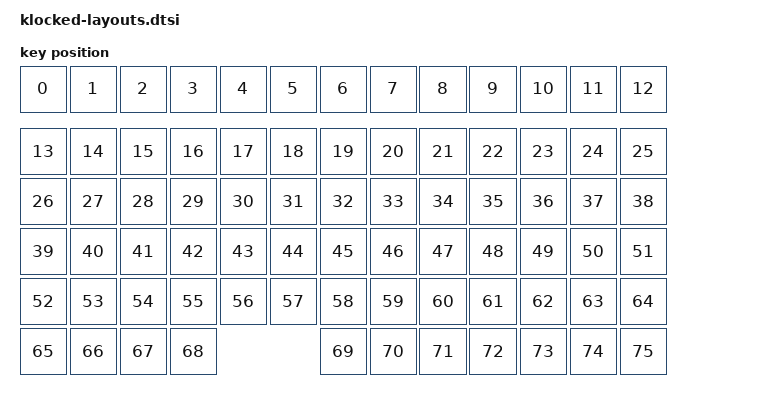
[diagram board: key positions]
#include <dt-bindings/zmk/matrix_transform.h> // Put this with the other includes at the top of your dtsi
#include <physical_layouts.dtsi>

// Physical layout node
/ {
physical_layout0: physical_layout_0 {
        compatible = "zmk,physical-layout";
        display-name = "13x6 Ortho";
        transform = <&default_transform>; // Links to the RC map we made earlier
        kscan = <&kscan0>;

keys
            //                         w   h    x    y   rot  rx  ry
            // Row 0: F-Keys
            = <&key_physical_attrs 100 100    0    0    0   0   0>
            , <&key_physical_attrs 100 100  100    0    0   0   0>
            , <&key_physical_attrs 100 100  200    0    0   0   0>
            , <&key_physical_attrs 100 100  300    0    0   0   0>
            , <&key_physical_attrs 100 100  400    0    0   0   0>
            , <&key_physical_attrs 100 100  500    0    0   0   0>
            , <&key_physical_attrs 100 100  600    0    0   0   0>
            , <&key_physical_attrs 100 100  700    0    0   0   0>
            , <&key_physical_attrs 100 100  800    0    0   0   0>
            , <&key_physical_attrs 100 100  900    0    0   0   0>
            , <&key_physical_attrs 100 100 1000    0    0   0   0>
            , <&key_physical_attrs 100 100 1100    0    0   0   0>
            , <&key_physical_attrs 100 100 1200    0    0   0   0>

            // Row 1: Numbers (Gap starts here at y=125)
            , <&key_physical_attrs 100 100    0  125    0   0   0>
            , <&key_physical_attrs 100 100  100  125    0   0   0>
            , <&key_physical_attrs 100 100  200  125    0   0   0>
            , <&key_physical_attrs 100 100  300  125    0   0   0>
            , <&key_physical_attrs 100 100  400  125    0   0   0>
            , <&key_physical_attrs 100 100  500  125    0   0   0>
            , <&key_physical_attrs 100 100  600  125    0   0   0>
            , <&key_physical_attrs 100 100  700  125    0   0   0>
            , <&key_physical_attrs 100 100  800  125    0   0   0>
            , <&key_physical_attrs 100 100  900  125    0   0   0>
            , <&key_physical_attrs 100 100 1000  125    0   0   0>
            , <&key_physical_attrs 100 100 1100  125    0   0   0>
            , <&key_physical_attrs 100 100 1200  125    0   0   0>

            // Row 2: QWERTY
            , <&key_physical_attrs 100 100    0  225    0   0   0>
            , <&key_physical_attrs 100 100  100  225    0   0   0>
            , <&key_physical_attrs 100 100  200  225    0   0   0>
            , <&key_physical_attrs 100 100  300  225    0   0   0>
            , <&key_physical_attrs 100 100  400  225    0   0   0>
            , <&key_physical_attrs 100 100  500  225    0   0   0>
            , <&key_physical_attrs 100 100  600  225    0   0   0>
            , <&key_physical_attrs 100 100  700  225    0   0   0>
            , <&key_physical_attrs 100 100  800  225    0   0   0>
            , <&key_physical_attrs 100 100  900  225    0   0   0>
            , <&key_physical_attrs 100 100 1000  225    0   0   0>
            , <&key_physical_attrs 100 100 1100  225    0   0   0>
            , <&key_physical_attrs 100 100 1200  225    0   0   0>

            // Row 3: Home Row
            , <&key_physical_attrs 100 100    0  325    0   0   0>
            , <&key_physical_attrs 100 100  100  325    0   0   0>
            , <&key_physical_attrs 100 100  200  325    0   0   0>
            , <&key_physical_attrs 100 100  300  325    0   0   0>
            , <&key_physical_attrs 100 100  400  325    0   0   0>
            , <&key_physical_attrs 100 100  500  325    0   0   0>
            , <&key_physical_attrs 100 100  600  325    0   0   0>
            , <&key_physical_attrs 100 100  700  325    0   0   0>
            , <&key_physical_attrs 100 100  800  325    0   0   0>
            , <&key_physical_attrs 100 100  900  325    0   0   0>
            , <&key_physical_attrs 100 100 1000  325    0   0   0>
            , <&key_physical_attrs 100 100 1100  325    0   0   0>
            , <&key_physical_attrs 100 100 1200  325    0   0   0>

            // Row 4: Bottom Alpha
            , <&key_physical_attrs 100 100    0  425    0   0   0>
            , <&key_physical_attrs 100 100  100  425    0   0   0>
            , <&key_physical_attrs 100 100  200  425    0   0   0>
            , <&key_physical_attrs 100 100  300  425    0   0   0>
            , <&key_physical_attrs 100 100  400  425    0   0   0>
            , <&key_physical_attrs 100 100  500  425    0   0   0>
            , <&key_physical_attrs 100 100  600  425    0   0   0>
            , <&key_physical_attrs 100 100  700  425    0   0   0>
            , <&key_physical_attrs 100 100  800  425    0   0   0>
            , <&key_physical_attrs 100 100  900  425    0   0   0>
            , <&key_physical_attrs 100 100 1000  425    0   0   0>
            , <&key_physical_attrs 100 100 1100  425    0   0   0>
            , <&key_physical_attrs 100 100 1200  425    0   0   0>

            // Row 5: Bottom Utility (RC 5,4 and 5,5 are unpopulated)
            , <&key_physical_attrs 100 100    0  525    0   0   0>
            , <&key_physical_attrs 100 100  100  525    0   0   0>
            , <&key_physical_attrs 100 100  200  525    0   0   0>
            , <&key_physical_attrs 100 100  300  525    0   0   0>
            , <&key_physical_attrs 100 100  600  525    0   0   0> // Spacebar (RC 5,6)
            , <&key_physical_attrs 100 100  700  525    0   0   0>
            , <&key_physical_attrs 100 100  800  525    0   0   0>
            , <&key_physical_attrs 100 100  900  525    0   0   0>
            , <&key_physical_attrs 100 100 1000  525    0   0   0>
            , <&key_physical_attrs 100 100 1100  525    0   0   0>
            , <&key_physical_attrs 100 100 1200  525    0   0   0>
        ;
    };
};

/ {
    chosen {
        zmk,physical-layout = &physical_layout0;
        // Other chosen items
    };
};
